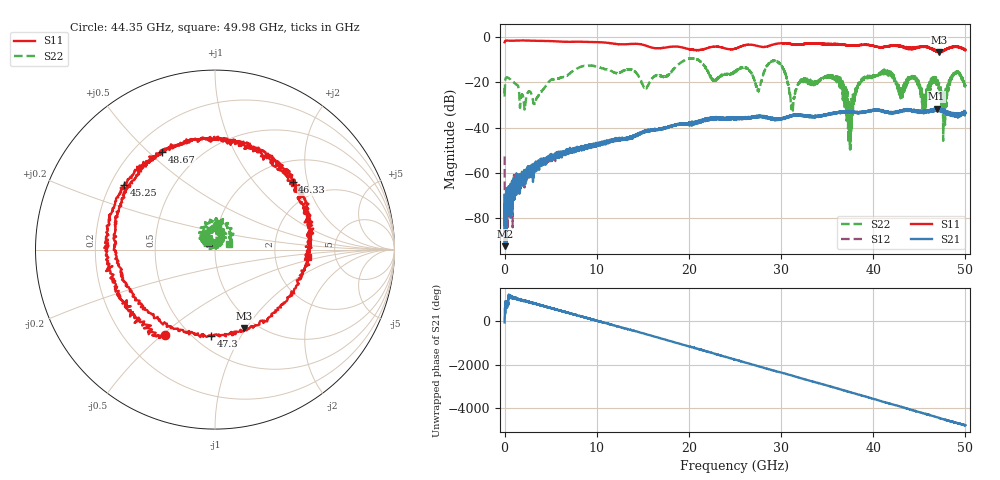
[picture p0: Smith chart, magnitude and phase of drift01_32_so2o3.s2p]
!Created with skrf (http://scikit-rf.org).
# Hz S RI R 50.0
!freq ReS11 ImS11 ReS21 ImS21 ReS12 ImS12 ReS22 ImS22
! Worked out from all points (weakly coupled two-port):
!   10001 points, 300 kHz to 50 GHz, reference 50 ohm
!   highest |S21| = -31.55 dB at 46.88 GHz (marker M1); lowest = -92.6 dB at 20.3 MHz (marker M2)
!   lowest |S11| = -6.6 dB at 47.15 GHz (marker M3), VSWR 2.76, Z = 43.7 - j49.1 ohm
!   |S11| at or under -10 dB: nowhere
!   |S22| runs from -49.7 to -9.2 dB; largest |S21 - S12| = 0.0041
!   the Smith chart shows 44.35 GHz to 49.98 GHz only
!   S11 on the Smith chart (normalised r, x): 44.35 GHz: 0.38, -0.51; 45.25 GHz: 0.26, +0.30; 46.33 GHz: 1.45, +1.62; 47.3 GHz: 0.61, -0.76; 48.67 GHz: 0.32, +0.55; 49.98 GHz: 3.14, -0.34
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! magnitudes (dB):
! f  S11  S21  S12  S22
! 300 kHz  -2.2  -69.8  -52.8  -22.4
! 20.3 MHz  -1.9  -92.6  -78.9  -23.9
! 3.29 GHz  -1.5  -57.8  -57.8  -28.8
! 8.335 GHz  -2.0  -49.1  -48.9  -12.9
! 16.67 GHz  -4.8  -40.8  -41.0  -16.7
! 25 GHz  -5.0  -36.1  -36.1  -15.5
! 29.58 GHz  -2.8  -36.3  -36.3  -10.6
! 31.24 GHz  -3.0  -34.6  -34.8  -31.7
! 33.34 GHz  -2.6  -35.1  -35.1  -20.2
! 36.08 GHz  -3.0  -33.2  -33.4  -18.3
! 37.47 GHz  -3.6  -33.1  -33.0  -42.5
! 38.68 GHz  -3.4  -33.1  -33.4  -19.8
! 41.67 GHz  -3.9  -33.3  -33.3  -15.4
! 44.35 GHz  -5.2  -33.0  -32.7  -17.3
! 45.25 GHz  -4.1  -32.8  -33.1  -25.4
! 46.33 GHz  -4.9  -32.6  -32.5  -19.4
! 46.88 GHz  -6.2  -31.6  -31.8  -20.3
! 47.15 GHz  -6.6  -32.1  -32.3  -20.6
! 47.3 GHz  -6.4  -32.4  -32.6  -22.5
! 48.67 GHz  -4.2  -34.0  -34.4  -16.6
! 49.98 GHz  -5.7  -33.8  -33.4  -21.6
! 50 GHz  -5.5  -33.6  -33.2  -21.7
